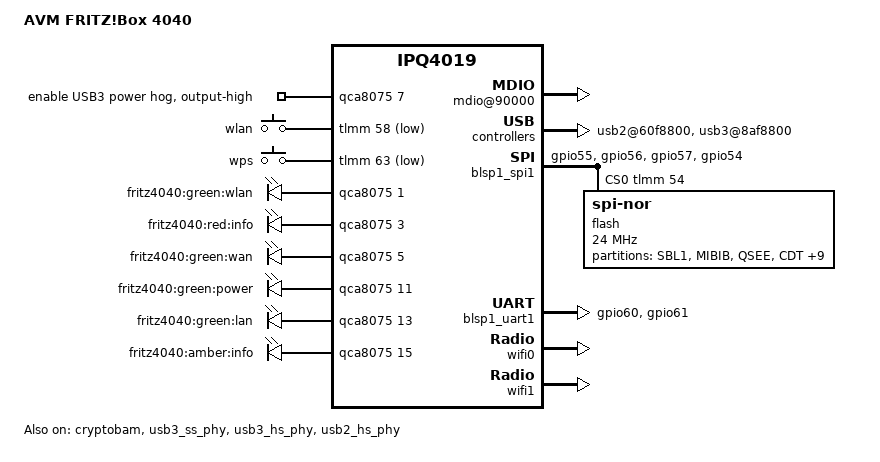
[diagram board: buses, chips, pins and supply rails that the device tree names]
// SPDX-License-Identifier: GPL-2.0-or-later OR MIT

#include "qcom-ipq4019.dtsi"
#include <dt-bindings/gpio/gpio.h>
#include <dt-bindings/input/input.h>
#include <dt-bindings/soc/qcom,tcsr.h>

/ {
	model = "AVM FRITZ!Box 4040";
	compatible = "avm,fritzbox-4040", "qcom,ipq4019";

	aliases {
		led-boot = &power;
		led-failsafe = &flash;
		led-running = &power;
		led-upgrade = &flash;
	};

	soc {
		mdio@90000 {
			status = "okay";
		};

		ess-psgmii@98000 {
			status = "okay";
		};

		tcsr@1949000 {
			compatible = "qcom,tcsr";
			reg = <0x1949000 0x100>;
			qcom,wifi_glb_cfg = <TCSR_WIFI_GLB_CFG>;
		};

		tcsr@194b000 {
			compatible = "qcom,tcsr";
			reg = <0x194b000 0x100>;
			qcom,usb-hsphy-mode-select = <TCSR_USB_HSPHY_HOST_MODE>;
		};

		ess_tcsr@1953000 {
			compatible = "qcom,tcsr";
			reg = <0x1953000 0x1000>;
			qcom,ess-interface-select = <TCSR_ESS_PSGMII>;
		};

		tcsr@1957000 {
			compatible = "qcom,tcsr";
			reg = <0x1957000 0x100>;
			qcom,wifi_noc_memtype_m0_m2 = <TCSR_WIFI_NOC_MEMTYPE_M0_M2>;
		};

		usb2@60f8800 {
			status = "okay";
		};

		usb3@8af8800 {
			status = "okay";
		};

		crypto@8e3a000 {
			status = "okay";
		};

		watchdog@b017000 {
			status = "okay";
		};

		qca8075: ess-switch@c000000 {
			status = "okay";

			#gpio-cells = <2>;
			gpio-controller;

			enable-usb-power {
				gpio-hog;
				line-name = "enable USB3 power";
				gpios = <7 GPIO_ACTIVE_HIGH>;
				output-high;
			};
		};

		edma@c080000 {
			status = "okay";
		};
	};

	keys {
		compatible = "gpio-keys";

		wlan {
			label = "wlan";
			gpios = <&tlmm 58 GPIO_ACTIVE_LOW>;
			linux,code = <KEY_RFKILL>;
		};

		wps {
			label = "wps";
			gpios = <&tlmm 63 GPIO_ACTIVE_LOW>;
			linux,code = <KEY_WPS_BUTTON>;
		};
	};

	switch-leds {
		compatible = "gpio-leds";

		wlan {
			label = "fritz4040:green:wlan";
			gpios = <&qca8075 1 GPIO_ACTIVE_HIGH>;
		};

		panic: info_red {
			label = "fritz4040:red:info";
			gpios = <&qca8075 3 GPIO_ACTIVE_HIGH>;
			panic-indicator;
		};

		wan {
			label = "fritz4040:green:wan";
			gpios = <&qca8075 5 GPIO_ACTIVE_HIGH>;
		};

		power: power {
			label = "fritz4040:green:power";
			gpios = <&qca8075 11 GPIO_ACTIVE_HIGH>;
		};

		lan {
			label = "fritz4040:green:lan";
			gpios = <&qca8075 13 GPIO_ACTIVE_HIGH>;
		};

		flash: info_amber {
			label = "fritz4040:amber:info";
			gpios = <&qca8075 15 GPIO_ACTIVE_HIGH>;
		};
	};
};

&tlmm {
	serial_pins: serial_pinmux {
		mux {
			pins = "gpio60", "gpio61";
			function = "blsp_uart0";
			bias-disable;
		};
	};

	spi_0_pins: spi_0_pinmux {
		mux {
			function = "blsp_spi0";
			pins = "gpio55", "gpio56", "gpio57";
			drive-strength = <12>;
			bias-disable;
		};

		mux_cs {
			function = "gpio";
			pins = "gpio54";
			drive-strength = <2>;
			bias-disable;
			output-high;
		};
	};
};

&cryptobam {
	status = "okay";
};

&blsp_dma {
	status = "okay";
};

&blsp1_spi1 { /* BLSP1 QUP1 */
	pinctrl-0 = <&spi_0_pins>;
	pinctrl-names = "default";
	status = "okay";
	cs-gpios = <&tlmm 54 GPIO_ACTIVE_HIGH>;

	flash@0 {
		compatible = "jedec,spi-nor";
		#address-cells = <1>;
		#size-cells = <0>;
		reg = <0>;
		spi-max-frequency = <24000000>;
		status = "okay";
		m25p,fast-read;

		partitions {
			compatible = "fixed-partitions";
			#address-cells = <1>;
			#size-cells = <1>;

			partition0@0 {
				label = "SBL1";
				reg = <0x00000000 0x00040000>;
				read-only;
			};
			partition1@40000 {
				label = "MIBIB";
				reg = <0x00040000 0x00020000>;
				read-only;
			};
			partition2@60000 {
				label = "QSEE";
				reg = <0x00060000 0x00060000>;
				read-only;
			};
			partition3@c0000 {
				label = "CDT";
				reg = <0x000c0000 0x00010000>;
				read-only;
			};
			partition4@d0000 {
				label = "DDRPARAMS";
				reg = <0x000d0000 0x00010000>;
				read-only;
			};
			partition5@e0000 {
				label = "APPSBLENV"; /* uboot env - empty */
				reg = <0x000e0000 0x00010000>;
				read-only;
			};
			partition6@f0000 {
				label = "urlader"; /* APPSBL */
				reg = <0x000f0000 0x0002dc000>;
				read-only;
			};
			partition7@11dc00 {
				/* make a backup of this partition! */
				label = "urlader_config";
				reg = <0x0011dc00 0x00002400>;
				read-only;
			};
			partition8@120000 {
				label = "tffs1";
				reg = <0x00120000 0x00080000>;
				read-only;
			};
			partition9@1a0000 {
				label = "tffs2";
				reg = <0x001a0000 0x00080000>;
				read-only;
			};
			partition10@220000 {
				label = "uboot";
				reg = <0x00220000 0x00080000>;
				read-only;
			};
			partition11@2A0000 {
				compatible = "denx,fit";
				label = "firmware";
				reg = <0x002a0000 0x01c60000>;
			};
			partition12@1f00000 {
				label = "jffs2";
				reg = <0x01f00000 0x00100000>;
			};
		};
	};
};

&blsp1_uart1 {
	pinctrl-0 = <&serial_pins>;
	pinctrl-names = "default";
	status = "okay";
};

&usb3_ss_phy {
	status = "okay";
};

&usb3_hs_phy {
	status = "okay";
};

&usb2_hs_phy {
	status = "okay";
};

&wifi0 {
	status = "okay";
	qcom,ath10k-calibration-variant = "AVM-FRITZBox-4040";
};

&wifi1 {
	status = "okay";
	qcom,ath10k-calibration-variant = "AVM-FRITZBox-4040";
};
